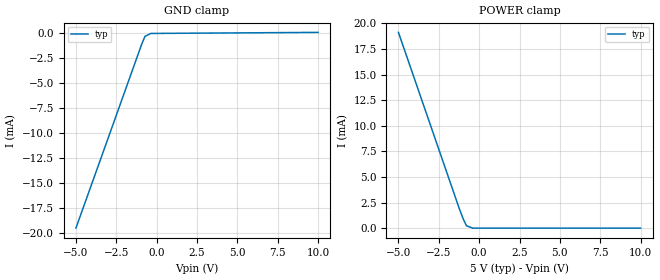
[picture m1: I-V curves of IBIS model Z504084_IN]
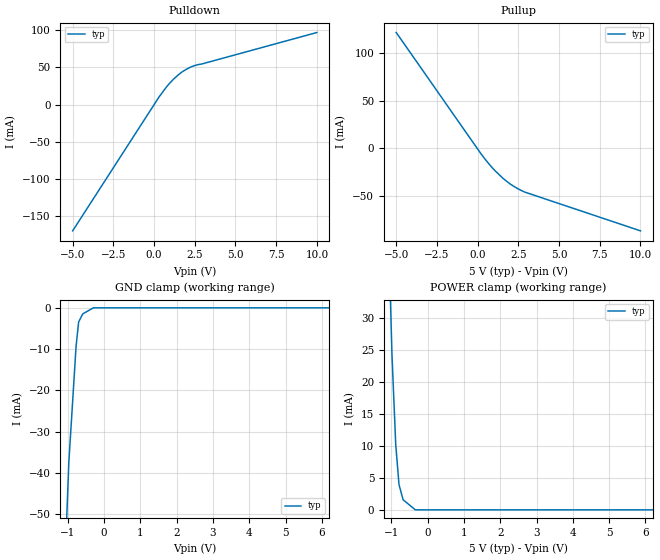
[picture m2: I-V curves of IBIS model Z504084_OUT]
| YOU ARE ONLY AUTHORIZED TO USE THIS SOFTWARE
| ACCORDING TO LICENSOR'S LICENSE RESTRICTIONS.
[IBIS Ver] 3.1
[File Name] mc54hc259j.ibs
[File Rev] 2.0
[Source] Measured and created by ICX Technology
[Date] Friday 7/14/00 9:08:06 AM
[Copyright]
| (C) COPYRIGHT 1993-2000
| MENTOR GRAPHICS CORPORATION
| ICX STANDARD LIBRARY, ICX PROJECT MODELING,
| ICX CUSTOM MODELING, ICX VENDOR MODEL
| ALL RIGHTS RESERVED.
| THE FOLLOWING ARE TRADEMARKS OR SERVICE MARKS OF
| MENTOR GRAPHICS CORPORATION:ICX (R), ICX STANDARD
| LIBRARY(R), ICX PROJECT MODELING(R), ICX CUSTOM
| MODELING(R), qualityIBIS(TM), MODELVIEWER(TM),
| AND MODELEDITOR(TM)
| ALL COPIES OF SOFTWARE, INCLUDING BUT NOT LIMITED TO
| ANY MODIFICATIONS, ENHANCEMENTS OR DERIVATIVE WORKS,
| MUST CONTAIN ALL MENTOR GRAPHICS CORPORATION'S
| NOTICES AND LEGENDS, INCLUDING THOSE EMBEDDED IN
| SOFTWARE AND THOSE AFFIXED TO SOFTWARE MEDIUM
| AND CONTAINER, AS RECEIVED FROM MENTOR GRAPHICS
| CORPORATION.
|  ZAP Model Builder 2.7
[Component] MC54HC259J
[Manufacturer] OnSemiconductor
[Package]
| variable   typ   min   max
R_pkg  .212ohms NA NA
L_pkg  4.758nH NA NA
C_pkg  1.944pF NA NA
[Pin] signal_name  model_name  R_pin  L_pin C_pin
1 S0 Z504084_IN .224 7.258n 2.683p
2 S1 Z504084_IN .216 5.258n 2.19p
3 S2 Z504084_IN .208 3.758n 1.697p
4 Q0 Z504084_OUT .2 2.758n 1.204p
5 Q1 Z504084_OUT .2 2.758n 1.204p
6 Q2 Z504084_OUT .208 3.758n 1.697p
7 Q3 Z504084_OUT .216 5.258n 2.19p
8 GND GND .224 7.258n 2.683p
9 Q4 Z504084_OUT .224 7.258n 2.683p
10 Q5 Z504084_OUT .216 5.258n 2.19p
11 Q6 Z504084_OUT .208 3.758n 1.697p
12 Q7 Z504084_OUT .2 2.758n 1.204p
13 D Z504084_IN .2 2.758n 1.204p
14 _G Z504084_IN .208 3.758n 1.697p
15 _CLR Z504084_IN .216 5.258n 2.19p
16 VCC POWER .224 7.258n 2.683p
| Models and submodels in the file (2): Z504084_IN (Input), Z504084_OUT (Output)
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| (C) COPYRIGHT 1993-2000
| MENTOR GRAPHICS CORPORATION
| ICX STANDARD LIBRARY, ICX PROJECT MODELING,
| ICX CUSTOM MODELING, ICX VENDOR MODEL
| ALL RIGHTS RESERVED.
| THE FOLLOWING ARE TRADEMARKS OR SERVICE MARKS OF
| MENTOR GRAPHICS CORPORATION:ICX (R), ICX STANDARD
| LIBRARY(R), ICX PROJECT MODELING(R), ICX CUSTOM
| MODELING(R), qualityIBIS(TM), MODELVIEWER(TM),
| AND MODELEDITOR(TM)
| ALL COPIES OF SOFTWARE, INCLUDING BUT NOT LIMITED TO
| ANY MODIFICATIONS, ENHANCEMENTS OR DERIVATIVE WORKS,
| MUST CONTAIN ALL MENTOR GRAPHICS CORPORATION'S
| NOTICES AND LEGENDS, INCLUDING THOSE EMBEDDED IN
| SOFTWARE AND THOSE AFFIXED TO SOFTWARE MEDIUM
| AND CONTAINER, AS RECEIVED FROM MENTOR GRAPHICS
| CORPORATION.
| Model Application Version 1.89 2/18/99.
[Model] Z504084_IN
Model_type Input
Vinl = 1.000V
Vinh = 3.500V
C_comp 4.000pF NA NA
| variable typ   min   max
[Voltage Range] 5.000V NA NA
[GND Clamp Reference] 0.000V NA NA
[POWER Clamp Reference] 5.000V NA NA
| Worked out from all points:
|   GND clamp passes 1 mA (typ) near -0.89 V on its own axis
|   POWER clamp passes 1 mA (typ) near -1.01 V on its own axis
[GND Clamp]
-5V       -19.52mA   NA         NA
-937.3mV  -1.171mA   NA         NA
-726.8mV  -338.3uA   NA         NA
-363.4mV  -43.37uA   NA         NA
10V       65.31uA    NA         NA
[POWER Clamp]
-5V       19.13mA    NA         NA
-1.25V    1.992mA    NA         NA
-1.001V   955.7uA    NA         NA
-788mV    234.9uA    NA         NA
-394mV    0A         NA         NA
10V       0A         NA         NA
| (C) COPYRIGHT 1993-2000
| MENTOR GRAPHICS CORPORATION
| ICX STANDARD LIBRARY, ICX PROJECT MODELING,
| ICX CUSTOM MODELING, ICX VENDOR MODEL
| ALL RIGHTS RESERVED.
| THE FOLLOWING ARE TRADEMARKS OR SERVICE MARKS OF
| MENTOR GRAPHICS CORPORATION:ICX (R), ICX STANDARD
| LIBRARY(R), ICX PROJECT MODELING(R), ICX CUSTOM
| MODELING(R), qualityIBIS(TM), MODELVIEWER(TM),
| AND MODELEDITOR(TM)
| ALL COPIES OF SOFTWARE, INCLUDING BUT NOT LIMITED TO
| ANY MODIFICATIONS, ENHANCEMENTS OR DERIVATIVE WORKS,
| MUST CONTAIN ALL MENTOR GRAPHICS CORPORATION'S
| NOTICES AND LEGENDS, INCLUDING THOSE EMBEDDED IN
| SOFTWARE AND THOSE AFFIXED TO SOFTWARE MEDIUM
| AND CONTAINER, AS RECEIVED FROM MENTOR GRAPHICS
| CORPORATION.
| Model Application Version 1.89 2/18/99.
[Model] Z504084_OUT
Model_type Output
Vref=0.000V
Rref=500.0Mohms
Cref=50.00pF
Vmeas=2.500V
C_comp 8.000pF NA NA
| variable typ   min   max
[Voltage Range] 5.000V NA NA
[POWER Clamp Reference] 5.000V NA NA
[Pullup Reference] 5.000V NA NA
[Pulldown Reference] 0.000V NA NA
[GND Clamp Reference] 0.000V NA NA
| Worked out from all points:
|   slope of the pulldown table from 0 to 0.75 V, typ, clamps not added: 31.9 ohm
|   slope of the pullup table from 0 to 0.75 V, typ, clamps not added: 45 ohm
[GND Clamp]
-5V       -975.4mA   NA         NA
-970.4mV  -37.6mA    NA         NA
-769.9mV  -9.345mA   NA         NA
-699.2mV  -3.431mA   NA         NA
-585.9mV  -1.476mA   NA         NA
-293mV    0A         NA         NA
10V       0A         NA         NA
[Pulldown]
-5V       -170.2mA   NA         NA
297.7mV   10.01mA    NA         NA
913.5mV   27.71mA    NA         NA
1.519V    40.61mA    NA         NA
1.992V    47.69mA    NA         NA
2.523V    52.71mA    NA         NA
10V       97.1mA     NA         NA
[Pullup]
-5V       121.2mA    NA         NA
181mV     -5.205mA   NA         NA
859mV     -19.67mA   NA         NA
1.802V    -34.87mA   NA         NA
2.197V    -39.61mA   NA         NA
2.886V    -45.82mA   NA         NA
10V       -86.47mA   NA         NA
[POWER Clamp]
-5V       835mA      NA         NA
-981mV    24.27mA    NA         NA
-877mV    10.18mA    NA         NA
-787mV    3.929mA    NA         NA
-673mV    1.572mA    NA         NA
-336.5mV  0A         NA         NA
10V       0A         NA         NA
[Ramp]
| variable typ min max
dV/dt_r 2.780/1.948n NA NA
dV/dt_f 2.780/1.597n NA NA
R_load = 500.0Ohms
